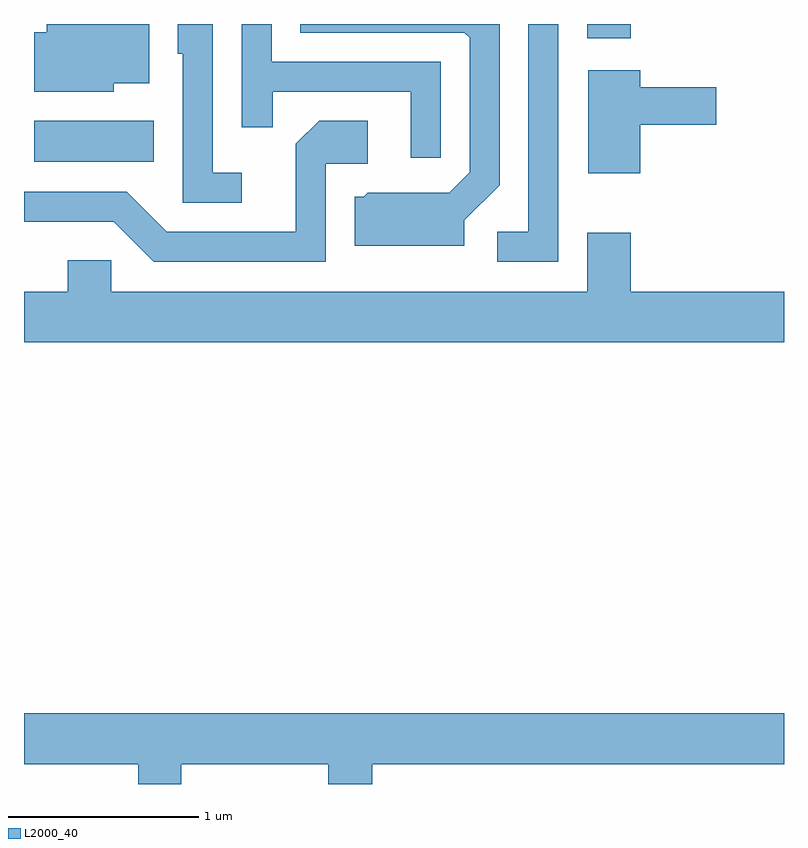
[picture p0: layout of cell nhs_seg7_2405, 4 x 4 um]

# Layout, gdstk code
import gdstk
lib = gdstk.Library(unit=1e-6, precision=1e-09)
def R(c, l, rs):  # rectangles x0, y0, x1, y1
    for r in rs: c.add(gdstk.rectangle(r[:2], r[2:], *l))
def P(c, l, *ps):  # polygons
    for p in ps: c.add(gdstk.Polygon(p, *l))
L2000_40 = (2000, 40)

nhs_seg7_2405 = lib.new_cell('nhs_seg7_2405')
R(nhs_seg7_2405, L2000_40, [(259.666,1677.526,260.294,1677.744), (262.576,1678.176,262.804,1678.252)])
P(nhs_seg7_2405, L2000_40, [(260.084,1677.941),(260.269,1677.941),(260.269,1678.252),(259.731,1678.252),(259.731,1678.209),(259.666,1678.209),(259.666,1677.896),(260.084,1677.896)],
  [(261.804,1678.054),(260.914,1678.054),(260.914,1678.252),(260.756,1678.252),(260.756,1677.708),(260.919,1677.708),(260.919,1677.896),(261.646,1677.896),(261.646,1677.548),(261.804,1677.548)],
  [(262.424,1678.252),(262.266,1678.252),(262.266,1677.159),(262.103,1677.159),(262.103,1677.001),(262.424,1677.001)],
  [(261.929,1677.219),(262.114,1677.404),(262.114,1678.252),(261.066,1678.252),(261.066,1678.206),(261.929,1678.206),(261.956,1678.179),(261.956,1677.472),(261.849,1677.364),(261.419,1677.364),(261.399,1677.344),(261.351,1677.344),(261.351,1677.086),(261.929,1677.086)],
  [(260.758,1677.469),(260.604,1677.469),(260.604,1678.252),(260.421,1678.252),(260.421,1678.096),(260.446,1678.096),(260.446,1677.311),(260.758,1677.311)],
  [(262.854,1677.721),(263.254,1677.721),(263.254,1677.919),(262.854,1677.919),(262.854,1678.009),(262.581,1678.009),(262.581,1677.466),(262.854,1677.466)],
  [(261.199,1677.516),(261.419,1677.516),(261.419,1677.744),(261.164,1677.744),(261.041,1677.622),(261.041,1677.159),(260.361,1677.159),(260.152,1677.369),(259.611,1677.369),(259.611,1677.211),(260.084,1677.211),(260.294,1677.001),(261.199,1677.001)],
  [(263.611,1676.844),(262.804,1676.844),(262.804,1677.154),(262.576,1677.154),(262.576,1676.844),(260.069,1676.844),(260.069,1677.009),(259.841,1677.009),(259.841,1676.844),(259.611,1676.844),(259.611,1676.576),(263.611,1676.576)],
  [(260.439,1674.356),(261.211,1674.356),(261.211,1674.252),(261.444,1674.252),(261.444,1674.356),(263.611,1674.356),(263.611,1674.624),(259.611,1674.624),(259.611,1674.356),(260.211,1674.356),(260.211,1674.252),(260.439,1674.252)])

lib.write_gds('nhs_seg7_2405.gds')
